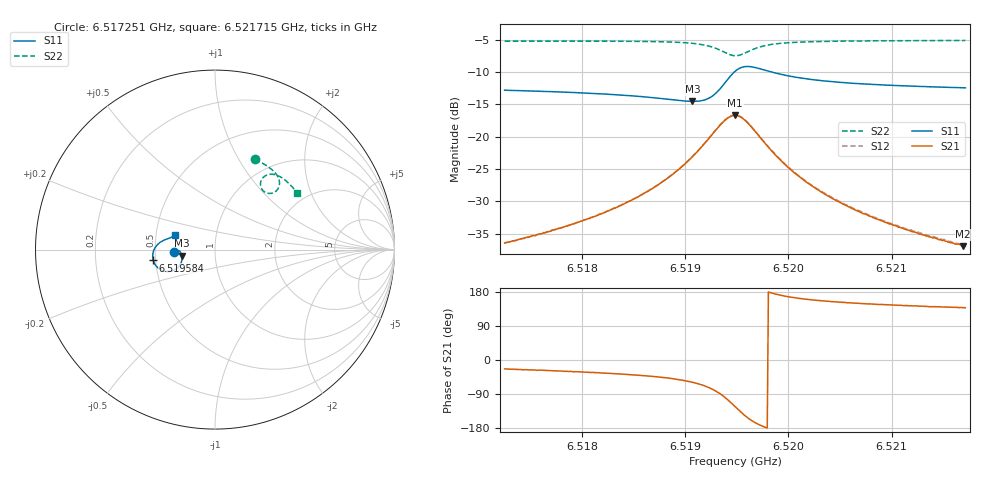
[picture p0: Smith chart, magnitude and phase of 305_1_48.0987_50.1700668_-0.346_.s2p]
#  HZ  S  RI  R  50.00
! Rohde & Schwarz Vector Network Analyzer
! Rohde-Schwarz,ZNB20-2Port,1311601062101988,3.16
! Created: UTC 12/23/2023, 4:05:11 AM
! freq[Hz]  re:S11  im:S11  re:S21  im:S21  re:S12  im:S12  re:S22  im:S22
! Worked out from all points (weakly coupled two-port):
!   401 points, 6.517251 GHz to 6.521715 GHz, reference 50 ohm
!   highest |S21| = -16.71 dB at 6.519483 GHz (marker M1); lowest = -36.9 dB at 6.521693 GHz (marker M2)
!   lowest |S11| = -14.5 dB at 6.51907 GHz (marker M3), VSWR 1.46, Z = 34.3 - j2.35 ohm
!   |S11| at or under -10 dB: start of sweep to 6.519475 GHz; 6.519842 GHz to end of sweep
!   |S22| runs from -7.5 to -5.1 dB; largest |S21 - S12| = 0.0044
!   S11 on the Smith chart (normalised r, x): 6.517251 GHz: 0.63, -0.02; 6.519584 GHz: 0.49, -0.07; 6.521715 GHz: 0.63, +0.11
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6.5172509e9  -0.2288 -0.0116  0.0138 -0.00598  0.0139 -0.00557  0.2211 0.5022
6.5176527e9  -0.2238 -0.00598  0.0161 -0.00841  0.0164 -0.00794  0.2506 0.4886
6.5179987e9  -0.2184 -0.00251  0.0189 -0.0117  0.0193 -0.0112  0.2761 0.4744
6.5184116e9  -0.2092 -0.00151  0.024 -0.0185  0.0246 -0.0178  0.3072 0.4535
6.5187465e9  -0.1982 -0.00753  0.0303 -0.0303  0.0314 -0.0295  0.3333 0.4298
6.5189362e9  -0.1901 -0.018  0.0346 -0.0436  0.0362 -0.0428  0.3479 0.4098
6.5190701e9  -0.1846 -0.033  0.0363 -0.0599  0.0384 -0.059  0.3567 0.3898
6.5191817e9  -0.184 -0.0547  0.0334 -0.0807  0.036 -0.0804  0.3593 0.3664
6.5192599e9  -0.1903 -0.0771  0.0241 -0.1008  0.0273 -0.1008  0.3543 0.3459
6.5193938e9  -0.2382 -0.1185  -0.0248 -0.1333  -0.0212 -0.1352  0.3164 0.314
6.5194831e9  -0.2994 -0.1137  -0.0793 -0.1227  -0.0765 -0.1258  0.2739 0.3228
6.5195277e9  -0.3256 -0.0937  -0.1003 -0.1023  -0.0982 -0.106  0.2589 0.3408
6.5195835e9  -0.3438 -0.0605  -0.1127 -0.0713  -0.1116 -0.075  0.2533 0.3667
6.5196952e9  -0.3407 -0.00307  -0.1036 -0.0222  -0.1038 -0.0255  0.2711 0.4043
6.5198068e9  -0.3206 0.0276  -0.0828 0.00076  -0.0837 -0.00167  0.2973 0.4181
6.5199965e9  -0.292 0.0487  -0.0566 0.0129  -0.0575 0.0114  0.3321 0.4181
6.5202309e9  -0.2707 0.0578  -0.0385 0.0152  -0.0395 0.0141  0.3608 0.4072
6.5205657e9  -0.2533 0.0643  -0.0256 0.014  -0.0264 0.0135  0.3896 0.3878
6.5209787e9  -0.2402 0.0701  -0.0174 0.0119  -0.0181 0.0117  0.4172 0.3631
6.5212912e9  -0.2331 0.0742  -0.0138 0.0108  -0.0144 0.0106  0.435 0.3441
6.521693e9  -0.2256 0.0796  -0.0106 0.0095  -0.0111 0.00943  0.4553 0.3189
6.5217153e9  -0.2251 0.08  -0.0105 0.00957  -0.011 0.00941  0.4563 0.3176
